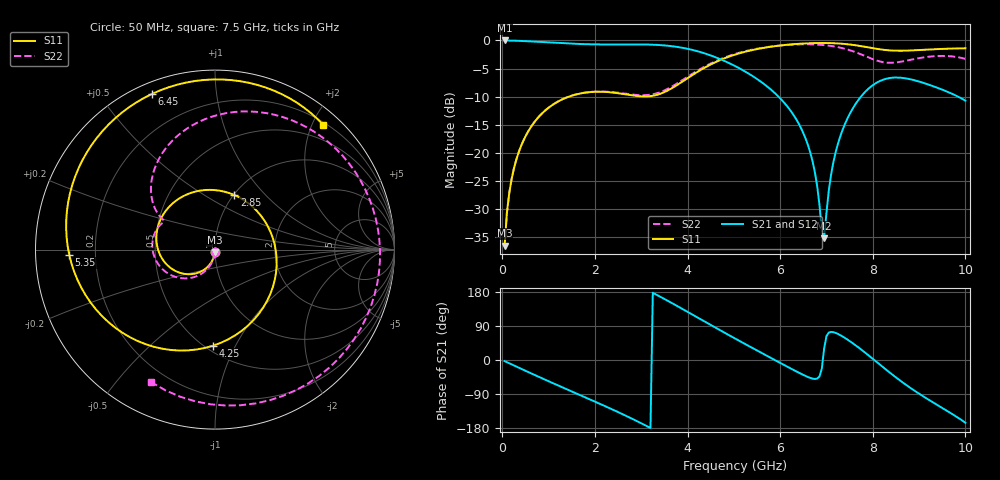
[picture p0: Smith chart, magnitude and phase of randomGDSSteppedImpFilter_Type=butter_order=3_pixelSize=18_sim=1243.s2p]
! freq	dB(S11)	phase(S11)	dB(S12)	phase(S12)
!  dB(S21)	phase(S21)	dB(S22)	phase(S22)
!S-par simulation data
#  GHz  S  DB  R 50
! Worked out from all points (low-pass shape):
!   200 points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, 50 MHz to 10 GHz, reference 50 ohm
!   highest |S21| = -0.01 dB at 50 MHz (marker M1); lowest = -35.2 dB at 6.95 GHz (marker M2)
!   |S21| within 3 dB of the highest: start of sweep to 4.608 GHz
!   lowest |S11| = -36.5 dB at 50 MHz (marker M3), VSWR 1.03, Z = 49.9 - j1.49 ohm
!   |S11| at or under -10 dB: start of sweep to 1.439 GHz
!   |S22| runs from -36.6 to -0.7 dB; largest |S21 - S12| = 0
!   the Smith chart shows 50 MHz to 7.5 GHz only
!   S11 on the Smith chart (normalised r, x): 50 MHz: 1.00, -0.03; 2.85 GHz: 1.01, +0.68; 4.25 GHz: 0.54, -0.82; 5.35 GHz: 0.10, -0.02; 6.45 GHz: 0.05, +0.67; 7.5 GHz: 0.24, +2.16
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0.05  -36.50 -93.9  -0.01 -2.9  -0.01 -2.9  -36.61 -92.5
0.2  -24.72 -102.7  -0.03 -11.5  -0.03 -11.5  -24.72 -100.7
0.5  -17.08 -121.4  -0.12 -28.4  -0.12 -28.4  -17.08 -116.5
1.15  -11.12 -161.3  -0.43 -64.2  -0.43 -64.2  -11.12 -148.3
1.75  -9.34 160.6  -0.66 -96.4  -0.66 -96.4  -9.32 -174.5
2.85  -9.83 70.5  -0.70 -157.8  -0.70 -157.8  -9.66 153.1
3.4  -9.53 4.6  -0.82 167.7  -0.82 167.7  -9.24 149.5
4.25  -5.42 -91.3  -2.01 109.8  -2.01 109.8  -5.21 128.8
5.05  -2.46 -156.9  -4.66 55.1  -4.66 55.1  -2.34 85.1
5.35  -1.80 -178.0  -6.06 35.1  -6.06 35.1  -1.71 66.2
6  -0.90 139.8  -10.30 -7.6  -10.30 -7.6  -0.90 21.9
6.45  -0.58 112.0  -15.59 -36.4  -15.59 -36.4  -0.69 -12.0
6.7  -0.48 96.7  -21.52 -49.1  -21.52 -49.1  -0.70 -32.7
6.95  -0.46 81.6  -35.19 30.8  -35.19 30.8  -0.84 -55.3
7.15  -0.50 69.6  -21.65 73.5  -21.65 73.5  -1.05 -75.2
7.5  -0.72 49.2  -13.12 50.1  -13.12 50.1  -1.73 -115.8
7.9  -1.23 27.8  -8.64 13.1  -8.64 13.1  -3.00 -174.6
8.35  -1.76 8.2  -6.71 -31.6  -6.71 -31.6  -3.98 105.5
8.75  -1.81 -7.3  -6.81 -68.3  -6.81 -68.3  -3.56 40.1
9.1  -1.67 -21.3  -7.57 -96.7  -7.57 -96.7  -3.02 -6.1
9.6  -1.48 -41.5  -9.10 -133.9  -9.10 -133.9  -2.78 -64.7
10  -1.40 -57.2  -10.71 -165.4  -10.71 -165.4  -3.29 -120.4
